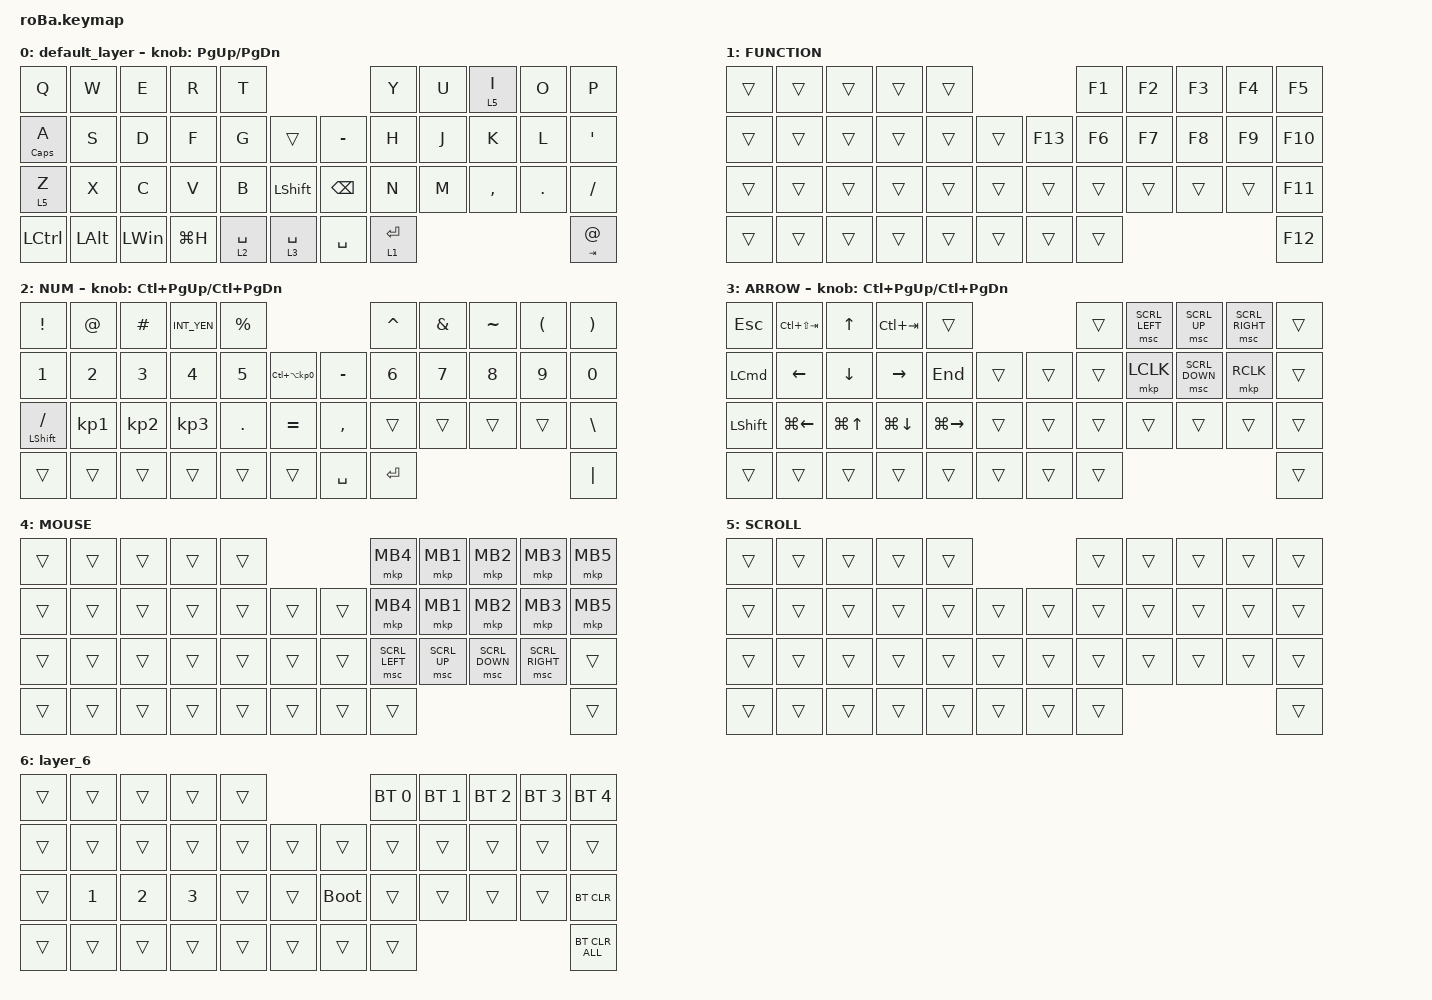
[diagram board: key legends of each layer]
#include <behaviors.dtsi>
#include <dt-bindings/zmk/bt.h>
#include <dt-bindings/zmk/keys.h>
#include <dt-bindings/zmk/pointing.h>

#define MOUSE 4
#define SCROLL 5
#define NUM 6

&mt {
    flavor = "balanced";
    quick-tap-ms = <0>;
};

/ {
    combos { compatible = "zmk,combos"; };

    behaviors {
        lt_to_layer_0: lt_to_layer_0 {
            compatible = "zmk,behavior-hold-tap";
            label = "LAYER_TAP_TO_0";
            bindings = <&mo>, <&to_layer_0>;

            #binding-cells = <2>;
            tapping-term-ms = <200>;
        };
    };

    keymap {
        compatible = "zmk,keymap";

        default_layer {
            bindings = <
&kp Q           &kp W     &kp E     &kp R      &kp T                                           &kp Y        &kp U  &lt 5 I    &kp O    &kp P
&mt CAPSLOCK A  &kp S     &kp D     &kp F      &kp G        &trans              &kp MINUS      &kp H        &kp J  &kp K      &kp L    &kp SQT
&lt 5 Z         &kp X     &kp C     &kp V      &kp B        &kp LEFT_SHIFT      &kp BACKSPACE  &kp N        &kp M  &kp COMMA  &kp DOT  &kp SLASH
&kp LCTRL       &kp LALT  &kp LWIN  &kp LG(H)  &lt 2 SPACE  &lt 3 SPACE         &kp SPACE      &lt 1 ENTER                             &mt TAB AT_SIGN
            >;

            sensor-bindings = <&inc_dec_kp PG_UP PAGE_DOWN>;
        };

        FUNCTION {
            bindings = <
&trans  &trans  &trans  &trans  &trans                       &kp F1  &kp F2  &kp F3  &kp F4  &kp F5
&trans  &trans  &trans  &trans  &trans  &trans      &kp F13  &kp F6  &kp F7  &kp F8  &kp F9  &kp F10
&trans  &trans  &trans  &trans  &trans  &trans      &trans   &trans  &trans  &trans  &trans  &kp F11
&trans  &trans  &trans  &trans  &trans  &trans      &trans   &trans                          &kp F12
            >;
        };

        NUM {
            bindings = <
&kp EXCLAMATION       &kp AT           &kp HASH         &kp INT_YEN      &kp PERCENT                                          &kp CARET     &kp AMPERSAND  &kp TILDE  &kp LEFT_PARENTHESIS  &kp RIGHT_PARENTHESIS
&kp NUMBER_1          &kp NUMBER_2     &kp NUMBER_3     &kp NUMBER_4     &kp N5       &kp LC(LA(KP_NUMBER_0))      &kp MINUS  &kp NUMBER_6  &kp N7         &kp N8     &kp N9                &kp N0
&mt LEFT_SHIFT SLASH  &kp KP_NUMBER_1  &kp KP_NUMBER_2  &kp KP_NUMBER_3  &kp PERIOD   &kp EQUAL                    &kp COMMA  &trans        &trans         &trans     &trans                &kp BACKSLASH
&trans                &trans           &trans           &trans           &trans       &trans                       &kp SPACE  &kp ENTER                                                     &kp PIPE
            >;

            sensor-bindings = <&inc_dec_kp LC(PAGE_UP) LC(PAGE_DOWN)>;
        };

        ARROW {
            bindings = <
&kp ESCAPE        &kp LC(LS(TAB))  &kp UP_ARROW      &kp LC(TAB)      &trans                             &trans  &msc SCRL_LEFT  &msc SCRL_UP    &msc SCRL_RIGHT  &trans
&kp LEFT_COMMAND  &kp LEFT         &kp DOWN_ARROW    &kp RIGHT_ARROW  &kp END        &trans      &trans  &trans  &mkp LCLK       &msc SCRL_DOWN  &mkp RCLK        &trans
&kp LEFT_SHIFT    &kp LG(LEFT)     &kp LG(UP_ARROW)  &kp LG(DOWN)     &kp LG(RIGHT)  &trans      &trans  &trans  &trans          &trans          &trans           &trans
&trans            &trans           &trans            &trans           &trans         &trans      &trans  &trans                                                   &trans
            >;

            sensor-bindings = <&inc_dec_kp LC(PAGE_UP) LC(PAGE_DOWN)>;
        };

        MOUSE {
            bindings = <
&trans  &trans  &trans  &trans  &trans                      &mkp MB4        &mkp MB1      &mkp MB2        &mkp MB3         &mkp MB5
&trans  &trans  &trans  &trans  &trans  &trans      &trans  &mkp MB4        &mkp MB1      &mkp MB2        &mkp MB3         &mkp MB5
&trans  &trans  &trans  &trans  &trans  &trans      &trans  &msc SCRL_LEFT  &msc SCRL_UP  &msc SCRL_DOWN  &msc SCRL_RIGHT  &trans
&trans  &trans  &trans  &trans  &trans  &trans      &trans  &trans                                                         &trans
            >;
        };

        SCROLL {
            bindings = <
&trans  &trans  &trans  &trans  &trans                      &trans  &trans  &trans  &trans  &trans
&trans  &trans  &trans  &trans  &trans  &trans      &trans  &trans  &trans  &trans  &trans  &trans
&trans  &trans  &trans  &trans  &trans  &trans      &trans  &trans  &trans  &trans  &trans  &trans
&trans  &trans  &trans  &trans  &trans  &trans      &trans  &trans                          &trans
            >;
        };

        layer_6 {
            bindings = <
&trans  &trans        &trans        &trans        &trans                           &bt BT_SEL 0  &bt BT_SEL 1  &bt BT_SEL 2  &bt BT_SEL 3  &bt BT_SEL 4
&trans  &trans        &trans        &trans        &trans  &trans      &trans       &trans        &trans        &trans        &trans        &trans
&trans  &kp NUMBER_1  &kp NUMBER_2  &kp NUMBER_3  &trans  &trans      &bootloader  &trans        &trans        &trans        &trans        &bt BT_CLR
&trans  &trans        &trans        &trans        &trans  &trans      &trans       &trans                                                  &bt BT_CLR_ALL
            >;
        };
    };
};
